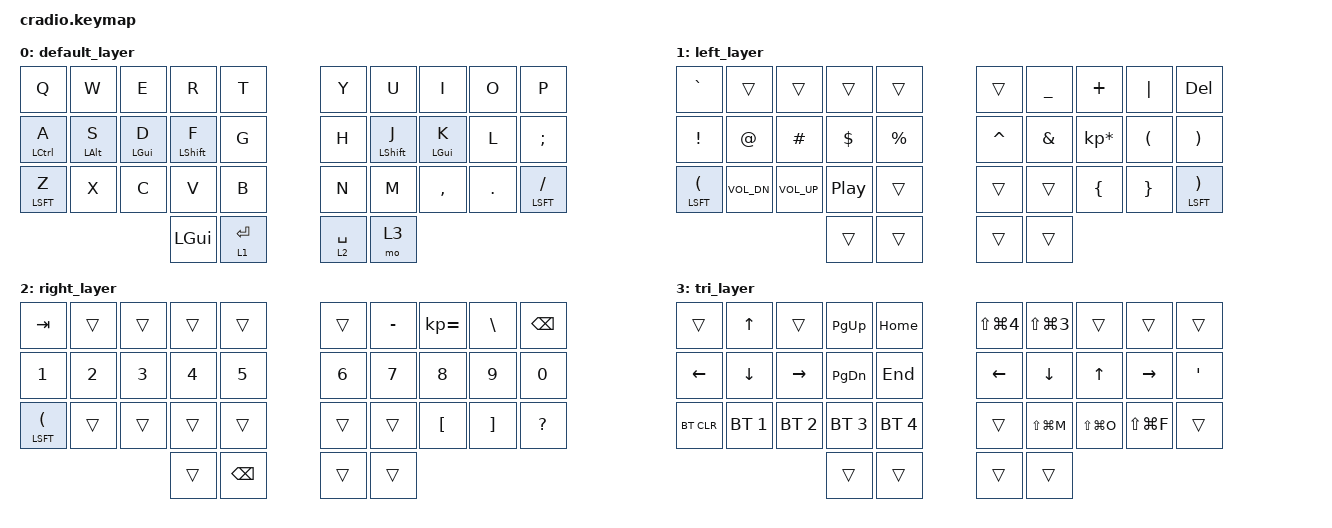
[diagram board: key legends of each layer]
/*
 * Copyright (c) 2020 The ZMK Contributors
 *
 * SPDX-License-Identifier: MIT
 */

#include <behaviors.dtsi>
#include <dt-bindings/zmk/keys.h>
#include <dt-bindings/zmk/bt.h>


&mt {
    // flavor = "tap-preferred";
    // tapping_term_ms = <200>;
};

/ { 

    combos {
        compatible = "zmk,combos";
        combo_esc {
            	timeout-ms = <50>;
            	key-positions = <0 1>;
            	bindings = <&kp ESC>;
        };
        combo_bspc {
            	timeout-ms = <50>;
            	key-positions = <8 9>;
            	bindings = <&kp BSPC>;
        };
        combo_tab {
            	timeout-ms = <50>;
            	key-positions = <10 11>;
            	bindings = <&kp TAB>;
        };
        combo_sqt {
        	timeout-ms = <50>;
            	key-positions = <18 19>;
            	bindings = <&kp SQT>;
        }; 
        combo_qmark {
            	timeout-ms = <50>;
            	key-positions = <28 29>;
            	bindings = <&kp QMARK>;
        };
        combo_trilayer {
        	timeout-ms = <50>;
                key-positions = <31 32>;
                bindings = <&mo 3>;
        }; 
    };
    behaviors {        
        ht: hold_tap {
        	compatible = "zmk,behavior-hold-tap";
                label = "HOLD_TAP";
                #binding-cells = <2>;
                tapping-term-ms = <200>;
                quick-tap-ms = <0>;
                flavor = "tap-preferred";
                bindings = <&kp>, <&kp>;
        };   
    };

    keymap {
        compatible = "zmk,keymap";
            
        default_layer {
            bindings = <
                &kp Q       &kp W      &kp E      &kp R        &kp T 	               &kp Y       &kp U        &kp I      &kp O      &kp P 
                &ht LCTRL A &ht LALT S &ht LGUI D &ht LSHIFT F &kp G 	               &kp H       &ht LSHIFT J &ht LGUI K &kp L &kp SEMI
                &mt LSFT Z  &kp X      &kp C      &kp V        &kp B		           &kp N       &kp M        &kp COMMA  &kp DOT    &mt LSFT FSLH
                                                  &kp LGUI     &lt 1 RET               &lt 2 SPACE &mo 3 
            >;
        };

        left_layer {
            bindings = < 
                &kp GRAVE     &trans       &trans       &trans   &trans              &trans    &kp UNDER &kp PLUS        &kp PIPE &kp DEL
                &kp EXCL      &kp AT       &kp HASH     &kp DLLR &kp PRCNT           &kp CARET &kp AMPS  &kp KP_MULTIPLY &kp LPAR &kp RPAR 
                &mt LSFT LPRN &kp C_VOL_DN &kp C_VOL_UP &kp C_PP &trans              &trans    &trans    &kp LBRC        &kp RBRC &mt LSFT RPRN
                                                        &trans   &trans              &trans    &trans  
            >;
        };
        
        right_layer {
            bindings = <
                &kp TAB       &trans &trans &trans &trans                            &trans &kp MINUS &kp KP_EQUAL &kp BSLH  &kp BSPC
                &kp N1        &kp N2 &kp N3 &kp N4 &kp N5                            &kp N6 &kp N7    &kp N8    &kp N9   &kp N0
                &mt LSFT LPRN &trans &trans &trans &trans 	                         &trans &trans    &kp LBKT  &kp RBKT &kp QMARK 
                                            &trans &kp BSPC  	                     &trans &trans  
            >;
        };	
        
        tri_layer {
            bindings = <
                &trans     &kp UP       &trans       &kp PG_UP    &kp HOME	         &kp LS(LG(N4)) &kp LS(LG(N3)) &trans        &trans        &trans
                &kp LEFT   &kp DOWN     &kp RIGHT    &kp PG_DN    &kp END            &kp LEFT       &kp DOWN       &kp UP        &kp RIGHT     &kp SQT 
                &bt BT_CLR &bt BT_SEL 1 &bt BT_SEL 2 &bt BT_SEL 3 &bt BT_SEL 4       &trans         &kp LS(LG(M))  &kp LS(LG(O)) &kp LS(LG(F)) &trans   
                                                     &trans       &trans             &trans         &trans 
            >;
        };	
        
	};
};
